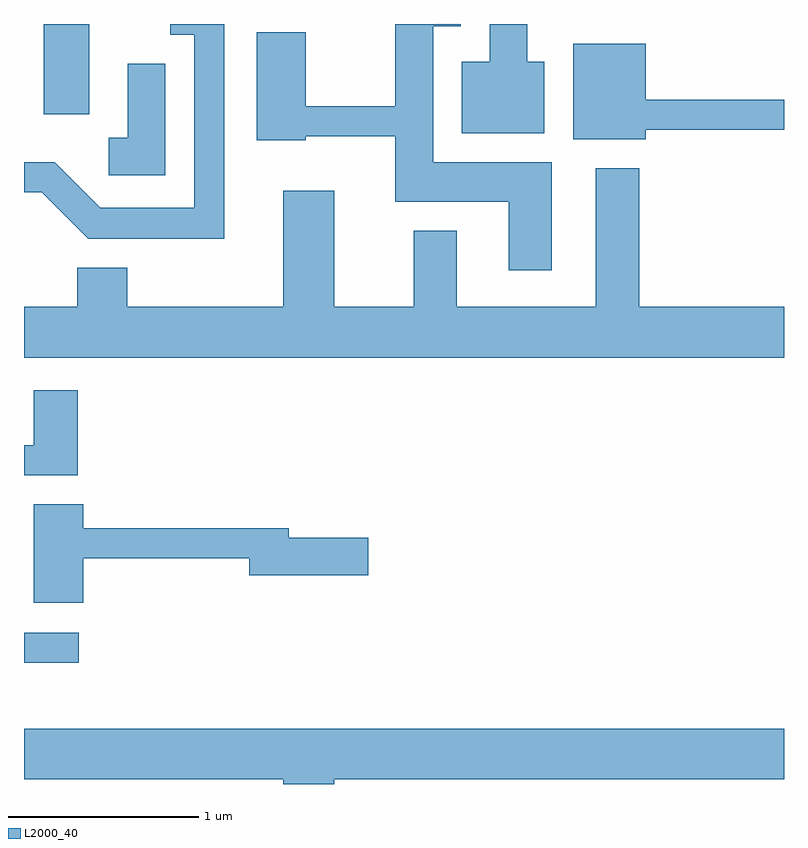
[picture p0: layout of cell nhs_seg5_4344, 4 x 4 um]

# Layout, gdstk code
import gdstk
lib = gdstk.Library(unit=1e-6, precision=1e-09)
def R(c, l, rs):  # rectangles x0, y0, x1, y1
    for r in rs: c.add(gdstk.rectangle(r[:2], r[2:], *l))
def P(c, l, *ps):  # polygons
    for p in ps: c.add(gdstk.Polygon(p, *l))
L2000_40 = (2000, 40)

nhs_seg5_4344 = lib.new_cell('nhs_seg5_4344')
R(nhs_seg5_4344, L2000_40, [(313.611,1490.711,313.898,1490.869), (313.716,1493.596,313.954,1494.072)])
P(nhs_seg5_4344, L2000_40, [(314.664,1494.072),(314.381,1494.072),(314.381,1494.016),(314.506,1494.016),(314.506,1493.104),(314.012,1493.104),(313.772,1493.344),(313.611,1493.344),(313.611,1493.186),(313.704,1493.186),(313.949,1492.941),(314.664,1492.941)],
  [(316.389,1493.344),(315.764,1493.344),(315.764,1494.061),(315.909,1494.061),(315.909,1494.072),(315.566,1494.072),(315.566,1493.639),(315.094,1493.639),(315.094,1494.029),(314.836,1494.029),(314.836,1493.461),(315.094,1493.461),(315.094,1493.481),(315.566,1493.481),(315.566,1493.136),(316.161,1493.136),(316.161,1492.776),(316.389,1492.776)],
  [(316.349,1493.874),(316.259,1493.874),(316.259,1494.072),(316.061,1494.072),(316.061,1493.874),(315.916,1493.874),(315.916,1493.496),(316.349,1493.496)],
  [(316.884,1493.516),(317.611,1493.516),(317.611,1493.674),(316.884,1493.674),(316.884,1493.969),(316.501,1493.969),(316.501,1493.466),(316.884,1493.466)],
  [(314.354,1493.864),(314.156,1493.864),(314.156,1493.474),(314.056,1493.474),(314.056,1493.276),(314.354,1493.276)],
  [(317.611,1492.584),(316.849,1492.584),(316.849,1493.314),(316.621,1493.314),(316.621,1492.584),(315.889,1492.584),(315.889,1492.984),(315.661,1492.984),(315.661,1492.584),(315.244,1492.584),(315.244,1493.194),(314.976,1493.194),(314.976,1492.584),(314.154,1492.584),(314.154,1492.789),(313.891,1492.789),(313.891,1492.584),(313.611,1492.584),(313.611,1492.316),(317.611,1492.316)],
  [(313.894,1492.144),(313.661,1492.144),(313.661,1491.854),(313.611,1491.854),(313.611,1491.696),(313.894,1491.696)],
  [(313.924,1491.261),(314.796,1491.261),(314.796,1491.171),(315.424,1491.171),(315.424,1491.369),(315.004,1491.369),(315.004,1491.419),(313.924,1491.419),(313.924,1491.544),(313.661,1491.544),(313.661,1491.026),(313.924,1491.026)],
  [(315.244,1490.096),(317.611,1490.096),(317.611,1490.364),(313.611,1490.364),(313.611,1490.096),(314.976,1490.096),(314.976,1490.072),(315.244,1490.072)])

lib.write_gds('nhs_seg5_4344.gds')
